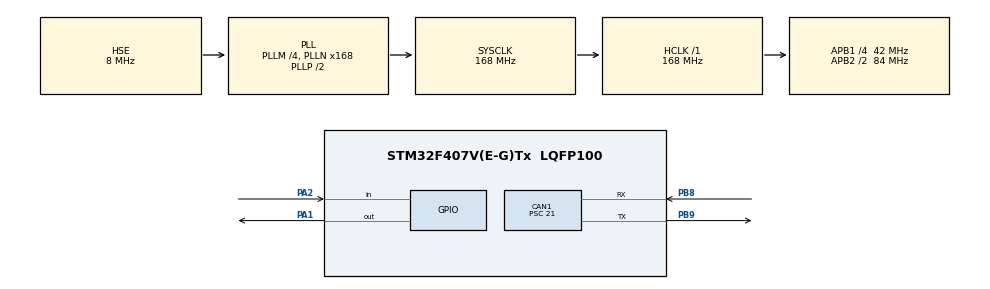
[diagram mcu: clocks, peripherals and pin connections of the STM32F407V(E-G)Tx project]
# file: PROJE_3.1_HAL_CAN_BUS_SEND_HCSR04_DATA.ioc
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CAN1.BS1=CAN_BS1_10TQ
CAN1.BS2=CAN_BS2_5TQ
CAN1.CalculateBaudRate=125000
CAN1.CalculateTimeBit=8000
CAN1.CalculateTimeQuantum=500.0
CAN1.Prescaler=21
Mcu.Family=STM32F4
Mcu.Name=STM32F407V(E-G)Tx
Mcu.Package=LQFP100
NVIC.PriorityGroup=NVIC_PRIORITYGROUP_4
PA1.Signal=GPIO_Output
PA2.Signal=GPIO_Input
PB8.Mode=CAN_Activate
PB8.Signal=CAN1_RX
PB9.Mode=CAN_Activate
PB9.Signal=CAN1_TX
PH0-OSC_IN.Mode=HSE-External-Oscillator
PH0-OSC_IN.Signal=RCC_OSC_IN
PH1-OSC_OUT.Mode=HSE-External-Oscillator
PH1-OSC_OUT.Signal=RCC_OSC_OUT
ProjectManager.HeapSize=0x200
ProjectManager.StackSize=0x400
ProjectManager.TargetToolchain=STM32CubeIDE
RCC.48MHZClocksFreq_Value=84000000
RCC.AHBFreq_Value=168000000
RCC.APB1CLKDivider=RCC_HCLK_DIV4
RCC.APB1Freq_Value=42000000
RCC.APB1TimFreq_Value=84000000
RCC.APB2CLKDivider=RCC_HCLK_DIV2
RCC.APB2Freq_Value=84000000
RCC.APB2TimFreq_Value=168000000
RCC.CortexFreq_Value=168000000
RCC.HCLKFreq_Value=168000000
RCC.HSE_VALUE=8000000
RCC.HSI_VALUE=16000000
RCC.LSE_VALUE=32768
RCC.PLLM=4
RCC.PLLN=168
RCC.PLLSourceVirtual=RCC_PLLSOURCE_HSE
RCC.SYSCLKFreq_VALUE=168000000
RCC.SYSCLKSource=RCC_SYSCLKSOURCE_PLLCLK
RCC.VCOOutputFreq_Value=336000000
board=custom

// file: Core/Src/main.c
/* USER CODE BEGIN Header */
/**
  ******************************************************************************
  * @file           : main.c
  * @brief          : Main program body
  ******************************************************************************
  * @attention
  *
  * Copyright (c) 2023 STMicroelectronics.
  * All rights reserved.
  *
  * This software is licensed under terms that can be found in the LICENSE file
  * in the root directory of this software component.
  * If no LICENSE file comes with this software, it is provided AS-IS.
  *
  ******************************************************************************
  */
/* USER CODE END Header */
#include "main.h"

/* USER CODE BEGIN Includes */

#include "dwt_stm32_delay.h"

/* USER CODE END Includes */

CAN_HandleTypeDef hcan1;

/* USER CODE BEGIN PV */

uint32_t sensor_time;  //echo pininden aldıgımız degeri sensor timeye verelim
uint32_t distance[2];  // sensor time / 58 yap distance bul

CAN_TxHeaderTypeDef pHeader;
uint32_t mTxMailbox;

/* USER CODE END PV */

void SystemClock_Config(void);
static void MX_GPIO_Init(void);
static void MX_CAN1_Init(void);

/* USER CODE BEGIN 0 */

uint32_t Read_HCSR04()
{
	uint32_t local_time = 0 ;

	HAL_GPIO_WritePin(GPIOA, GPIO_PIN_1, GPIO_PIN_SET);
	DWT_Delay_us(10);
	HAL_GPIO_WritePin(GPIOA, GPIO_PIN_1, GPIO_PIN_RESET);

	while(!(HAL_GPIO_ReadPin(GPIOA, GPIO_PIN_2)));
	//Whenever the echo pin(PA2) becomes 1, reverse(!) and exit while.

	while(HAL_GPIO_ReadPin(GPIOA, GPIO_PIN_2))
	{
		local_time++;
		DWT_Delay_us(1);
	}

	return local_time * 2 ;  //gitme gelme süresi oldugu icin x2
}
/* USER CODE END 0 */

int main(void)
{

  /* MCU Configuration--------------------------------------------------------*/

  /* Reset of all peripherals, Initializes the Flash interface and the Systick. */
  HAL_Init();

  /* Configure the system clock */
  SystemClock_Config();

  /* Initialize all configured peripherals */
  MX_GPIO_Init();
  MX_CAN1_Init();
  /* USER CODE BEGIN 2 */

DWT_Delay_Init();

pHeader.DLC=1;  //8bit veri gönderdik yani 1 byte
pHeader.IDE=CAN_ID_EXT;
pHeader.RTR=CAN_RTR_DATA;
pHeader.ExtId=0x0AF09876;

//can start
HAL_CAN_Start(&hcan1);

//filter paramateres yapmaya gerek yok, mesaj almayacagız (dolayısıyla id gelmeyecek)
//sadece hcsr04 ten aldıgımız verileri sürekli karsıya gönderecegiz

  /* USER CODE END 2 */

  /* Infinite loop */
  while (1)
  {

    /* USER CODE BEGIN 3 */
	  sensor_time = Read_HCSR04();
	  distance[0] = sensor_time * .034 / 2 ;  // sensor_time / 58 ;

	  HAL_CAN_AddTxMessage(&hcan1, &pHeader,(uint8_t*)distance , &mTxMailbox);
  }
  /* USER CODE END 3 */
}

void SystemClock_Config(void)
{
  RCC_OscInitTypeDef RCC_OscInitStruct = {0};
  RCC_ClkInitTypeDef RCC_ClkInitStruct = {0};

  /** Configure the main internal regulator output voltage
  */
  __HAL_RCC_PWR_CLK_ENABLE();
  __HAL_PWR_VOLTAGESCALING_CONFIG(PWR_REGULATOR_VOLTAGE_SCALE1);

  /** Initializes the RCC Oscillators according to the specified parameters
  * in the RCC_OscInitTypeDef structure.
  */
  RCC_OscInitStruct.OscillatorType = RCC_OSCILLATORTYPE_HSE;
  RCC_OscInitStruct.HSEState = RCC_HSE_ON;
  RCC_OscInitStruct.PLL.PLLState = RCC_PLL_ON;
  RCC_OscInitStruct.PLL.PLLSource = RCC_PLLSOURCE_HSE;
  RCC_OscInitStruct.PLL.PLLM = 4;
  RCC_OscInitStruct.PLL.PLLN = 168;
  RCC_OscInitStruct.PLL.PLLP = RCC_PLLP_DIV2;
  RCC_OscInitStruct.PLL.PLLQ = 4;
  if (HAL_RCC_OscConfig(&RCC_OscInitStruct) != HAL_OK)
  {
    Error_Handler();
  }

  /** Initializes the CPU, AHB and APB buses clocks
  */
  RCC_ClkInitStruct.ClockType = RCC_CLOCKTYPE_HCLK|RCC_CLOCKTYPE_SYSCLK
                              |RCC_CLOCKTYPE_PCLK1|RCC_CLOCKTYPE_PCLK2;
  RCC_ClkInitStruct.SYSCLKSource = RCC_SYSCLKSOURCE_PLLCLK;
  RCC_ClkInitStruct.AHBCLKDivider = RCC_SYSCLK_DIV1;
  RCC_ClkInitStruct.APB1CLKDivider = RCC_HCLK_DIV4;
  RCC_ClkInitStruct.APB2CLKDivider = RCC_HCLK_DIV2;

  if (HAL_RCC_ClockConfig(&RCC_ClkInitStruct, FLASH_LATENCY_5) != HAL_OK)
  {
    Error_Handler();
  }
}

static void MX_CAN1_Init(void)
{

  hcan1.Instance = CAN1;
  hcan1.Init.Prescaler = 21;
  hcan1.Init.Mode = CAN_MODE_NORMAL;
  hcan1.Init.SyncJumpWidth = CAN_SJW_1TQ;
  hcan1.Init.TimeSeg1 = CAN_BS1_10TQ;
  hcan1.Init.TimeSeg2 = CAN_BS2_5TQ;
  hcan1.Init.TimeTriggeredMode = DISABLE;
  hcan1.Init.AutoBusOff = DISABLE;
  hcan1.Init.AutoWakeUp = DISABLE;
  hcan1.Init.AutoRetransmission = DISABLE;
  hcan1.Init.ReceiveFifoLocked = DISABLE;
  hcan1.Init.TransmitFifoPriority = DISABLE;
  if (HAL_CAN_Init(&hcan1) != HAL_OK)
  {
    Error_Handler();
  }

}

static void MX_GPIO_Init(void)
{
  GPIO_InitTypeDef GPIO_InitStruct = {0};

  /* GPIO Ports Clock Enable */
  __HAL_RCC_GPIOH_CLK_ENABLE();
  __HAL_RCC_GPIOA_CLK_ENABLE();
  __HAL_RCC_GPIOB_CLK_ENABLE();

  /*Configure GPIO pin Output Level */
  HAL_GPIO_WritePin(GPIOA, GPIO_PIN_1, GPIO_PIN_RESET);

  /*Configure GPIO pin : PA1 */
  GPIO_InitStruct.Pin = GPIO_PIN_1;
  GPIO_InitStruct.Mode = GPIO_MODE_OUTPUT_PP;
  GPIO_InitStruct.Pull = GPIO_NOPULL;
  GPIO_InitStruct.Speed = GPIO_SPEED_FREQ_LOW;
  HAL_GPIO_Init(GPIOA, &GPIO_InitStruct);

  /*Configure GPIO pin : PA2 */
  GPIO_InitStruct.Pin = GPIO_PIN_2;
  GPIO_InitStruct.Mode = GPIO_MODE_INPUT;
  GPIO_InitStruct.Pull = GPIO_NOPULL;
  HAL_GPIO_Init(GPIOA, &GPIO_InitStruct);

}

void Error_Handler(void)
{
  __disable_irq();
  while (1)
  {
  }
}
